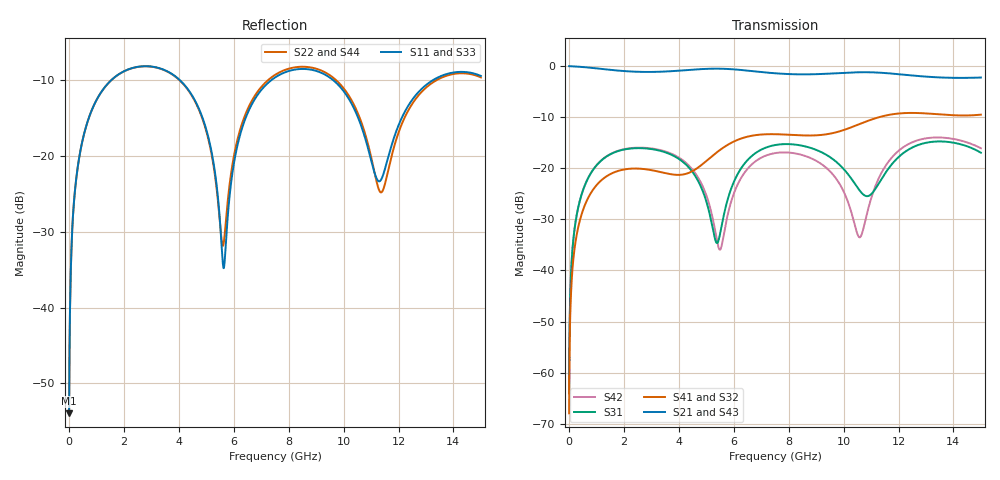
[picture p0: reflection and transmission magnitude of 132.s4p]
! Created with skrf 1.8.0 (http://scikit-rf.org).
# GHz S RI R 50.0
!freq ReS11 ImS11 ReS12 ImS12 ReS13 ImS13
! ReS14 ImS14
! ReS21 ImS21 ReS22 ImS22 ReS23 ImS23
! ReS24 ImS24
! ReS31 ImS31 ReS32 ImS32 ReS33 ImS33
! ReS34 ImS34
! ReS41 ImS41 ReS42 ImS42 ReS43 ImS43
! ReS44 ImS44
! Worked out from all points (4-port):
!   2499 points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, 5 MHz to 15 GHz, reference 50 ohm
!   strongest paths, dB at 5 MHz, 3.476 GHz, 7.19 GHz, 11.1 GHz, 15 GHz:
!     S21: 0.0, -1.1, -1.3, -1.2, -2.2
!     S43: 0.0, -1.1, -1.3, -1.2, -2.2
!     S41: -68.0, -20.9, -13.3, -10.3, -9.5
!     S32: -68.0, -20.9, -13.3, -10.3, -9.5
!     S31: -64.0, -16.8, -15.9, -24.5, -17.0
!     S42: -64.0, -16.7, -17.5, -24.4, -16.1
!   lowest |S11| = -54.0 dB at 5 MHz (marker M1), VSWR 1.00, Z = 50.2 + j0.122 ohm
!   |S11| at or under -10 dB: start of sweep to 1.528 GHz; 4.05 GHz to 7.354 GHz (3.303 GHz wide, 57.9 % of centre); 9.635 GHz to 13.23 GHz (3.599 GHz wide, 31.5 % of centre)
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0.005  0.00159 0.00121  0.9984 -0.0031  7.96e-05 0.000624  -7.74e-05 -0.000392
       0.9984 -0.0031  0.00159 0.00121  -7.74e-05 -0.000392  7.96e-05 0.000624
       7.96e-05 0.000624  -7.74e-05 -0.000392  0.00159 0.00121  0.9984 -0.0031
       -7.74e-05 -0.000392  7.96e-05 0.000624  0.9984 -0.0031  0.00159 0.00121
0.3126303  0.0229 0.08  0.9688 -0.1933  0.0103 0.0372  -0.00863 -0.0232
           0.9688 -0.1933  0.0229 0.08  -0.00863 -0.0232  0.0104 0.0372
           0.0103 0.0372  -0.00863 -0.0232  0.0229 0.08  0.9688 -0.1933
           -0.00863 -0.0232  0.0104 0.0372  0.9688 -0.1933  0.0229 0.08
1.569404  0.2656 0.1809  0.5605 -0.7234  0.1243 0.0641  -0.0891 -0.00791
          0.5605 -0.7234  0.265 0.1812  -0.0891 -0.00794  0.1266 0.061
          0.1243 0.0641  -0.0891 -0.00794  0.2657 0.1809  0.5605 -0.7234
          -0.0891 -0.00791  0.1266 0.061  0.5605 -0.7234  0.265 0.1813
5.633597  0.0182 -0.000106  -0.9388 -0.0626  0.0261 0.0222  -0.00554 0.1601
          -0.9388 -0.0626  0.0257 0.00683  -0.00621 0.1601  -0.0118 0.0187
          0.0261 0.0222  -0.00621 0.1601  0.0181 -0.000722  -0.9388 -0.0629
          -0.00554 0.1601  -0.0118 0.0187  -0.9388 -0.0629  0.0259 0.00622
8.766153  0.3729 -0.0269  0.0203 0.8304  0.1104 -0.1149  0.2008 -0.0589
          0.0203 0.8304  0.384 -0.0445  0.201 -0.0576  0.1076 -0.0676
          0.1104 -0.1149  0.201 -0.0576  0.3731 -0.0269  0.0205 0.8304
          0.2008 -0.0589  0.1076 -0.0676  0.0205 0.8304  0.3838 -0.0449
11.5298  0.0751 0.0402  0.8546 0.0131  0.00537 0.0905  -0.00854 -0.3281
         0.8546 0.0131  0.0627 0.0265  -0.00637 -0.328  0.0398 0.0979
         0.00537 0.0905  -0.00637 -0.328  0.0771 0.0363  0.8548 0.014
         -0.00854 -0.3281  0.0398 0.0979  0.8548 0.014  0.0601 0.0222
15  0.3255 -0.0941  -0.1677 -0.7543  0.0503 -0.1328  -0.3144 0.1154
    -0.1677 -0.7543  0.3172 -0.0958  -0.3151 0.1108  0.0474 -0.1498
    0.0503 -0.1328  -0.3151 0.1108  0.3137 -0.0994  -0.1715 -0.7574
    -0.3144 0.1154  0.0474 -0.1498  -0.1715 -0.7574  0.308 -0.0874
